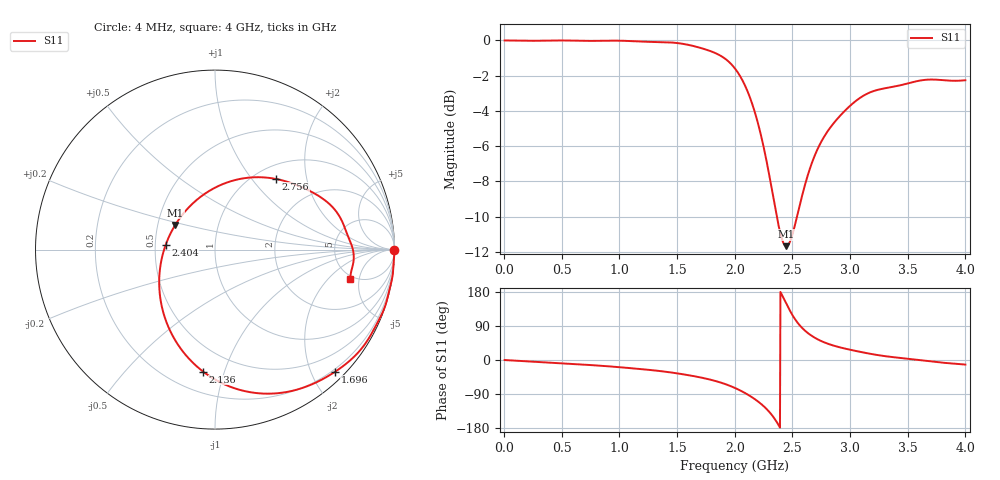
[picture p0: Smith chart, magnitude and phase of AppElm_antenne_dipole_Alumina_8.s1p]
! TOUCHSTONE file generated by CST MICROWAVE STUDIO
! Date and time: Sat May 14 12:01:01 2022
! Project name: AppElm_antenne_dipole_Alumina.cst
! Parameters = {L=33; e=0.035; f=2.45e+09; h=1.6; i=0.8; l1=2; lambda=122.449; ls=33; wl=1.7; ws=80}
! Header version: 2018
! Port assignment regex: !\s*Touchstone port\s*([0-9]+)\s*=\s*(CST MWS port|CST DS port)\s*([0-9]+|Zmin|Zmax)\s*\(\"(.*)\"\)(\s*mode\s*([0-9]+))?.*
! Touchstone port assignment:
! Touchstone port 1 = CST MWS port 1 ("")
# GHz S MA R 50
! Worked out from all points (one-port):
!   1000 points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, 4 MHz to 4 GHz, reference 50 ohm
!   lowest |S11| = -11.7 dB at 2.448 GHz (marker M1), VSWR 1.71, Z = 30.8 + j9.09 ohm
!   |S11| at or under -10 dB: 2.365 GHz to 2.54 GHz (175.3 MHz wide, 7.15 % of centre)
!   S11 on the Smith chart (normalised r, x): 4 MHz: open; 1.696 GHz: 0.16, -2.37; 2.136 GHz: 0.33, -0.85; 2.404 GHz: 0.57, +0.03; 2.756 GHz: 1.24, +1.33; 4 GHz: 4.68, -3.73
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0.004  1 -0.1
0.504  1 -8.7
1.004  0.9984 -19.1
1.32  0.9901 -28.1
1.504  0.983 -35.4
1.696  0.9539 -45.6
1.784  0.9341 -51.5
1.86  0.9113 -57.8
1.932  0.8793 -65.2
2.004  0.8307 -74.1
2.072  0.7645 -84.3
2.136  0.6827 -95.6
2.212  0.5639 -111.9
2.276  0.454 -129.4
2.34  0.3498 -152.6
2.404  0.2766 174.9
2.448  0.2607 148.2
2.504  0.2843 116.5
2.56  0.3369 92.6
2.616  0.3966 75.5
2.68  0.4594 61.3
2.756  0.5201 49.2
2.864  0.5857 37.3
3.004  0.6542 26.8
3.204  0.7184 14.8
3.504  0.7557 3.2
3.68  0.7742 -3.0
4  0.771 -12.1
